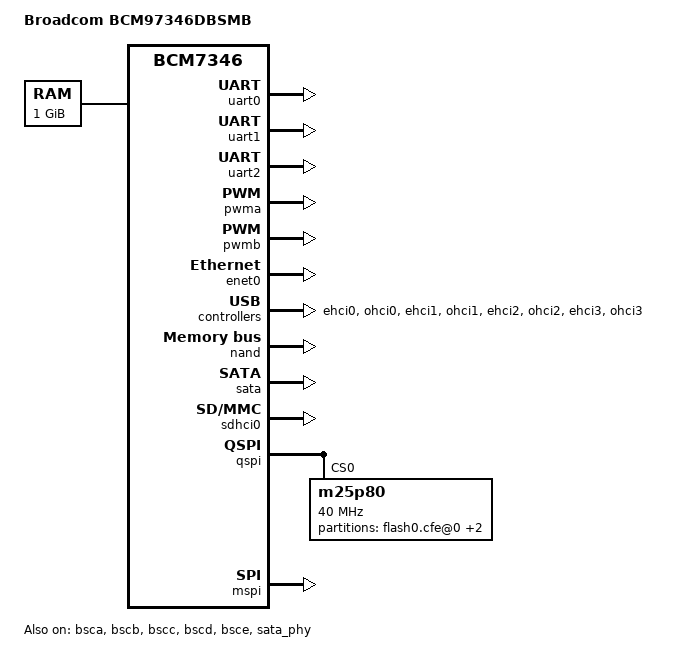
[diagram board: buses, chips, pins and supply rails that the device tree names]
/dts-v1/;

/include/ "bcm7346.dtsi"
/include/ "bcm97xxx-nand-cs1-bch24.dtsi"

/ {
	compatible = "brcm,bcm97346dbsmb", "brcm,bcm7346";
	model = "Broadcom BCM97346DBSMB";

	memory@0 {
		device_type = "memory";
		reg = <0x00000000 0x10000000>, <0x20000000 0x30000000>;
	};

	chosen {
		bootargs = "console=ttyS0,115200";
		stdout-path = &uart0;
	};
};

&uart0 {
	status = "okay";
};

&uart1 {
	status = "okay";
};

&uart2 {
	status = "okay";
};

&bsca {
	status = "okay";
};

&bscb {
	status = "okay";
};

&bscc {
	status = "okay";
};

&bscd {
	status = "okay";
};

&bsce {
	status = "okay";
};

&pwma {
	status = "okay";
};

&pwmb {
	status = "okay";
};

&enet0 {
	status = "okay";
};

&ehci0 {
	status = "okay";
};

&ohci0 {
	status = "okay";
};

&ehci1 {
	status = "okay";
};

&ohci1 {
	status = "okay";
};

&ehci2 {
	status = "okay";
};

&ohci2 {
	status = "okay";
};

&ehci3 {
	status = "okay";
};

&ohci3 {
	status = "okay";
};

&nand {
	status = "okay";
};

&sata {
	status = "okay";
};

&sata_phy {
	status = "okay";
};

&sdhci0 {
	status = "okay";
};

&qspi {
	status = "okay";

	m25p80@0 {
		compatible = "m25p80";
		reg = <0>;
		spi-max-frequency = <0x2625a00>;
		spi-cpol;
		spi-cpha;
		use-bspi;
		m25p,fast-read;

		partitions {
			compatible = "fixed-partitions";
			#address-cells = <1>;
			#size-cells = <1>;

			flash0.cfe@0 {
				reg = <0x0 0xa0000>;
			};

			flash0.nvram@a0000 {
				reg = <0xa0000 0x10000>;
			};

			flash0.mac@b0000 {
				reg = <0xb0000 0x10000>;
			};
		};
	};
};

&mspi {
	status = "okay";
};
